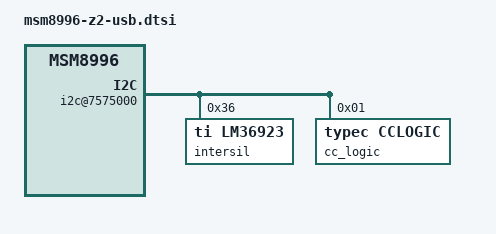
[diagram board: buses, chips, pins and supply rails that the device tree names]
&soc {
	i2c@7575000 {
		compatible = "qcom,i2c-msm-v2";
		#address-cells = <0x1>;
		#size-cells = <0x0>;
		reg-names = "qup_phys_addr";
		reg = <0x7575000 0x1000>;
		interrupt-names = "qup_irq";
		interrupts = <0x0 0x5f 0x0>;
		dmas = <0xe3 0xc 0x20 0x20000020 0x20 0xe3 0xd 0x20 0x20000020 0x20>;
		dma-names = "tx", "rx";
		qcom,master-id = <0x56>;
		qcom,clk-freq-out = <0x61a80>;
		qcom,clk-freq-in = <0x124f800>;
		clock-names = "iface_clk", "core_clk";
		clocks = <0x46 0x8caa5b4f 0x46 0xc303fae9>;
		pinctrl-names = "i2c_active", "i2c_sleep";
		pinctrl-0 = <0xe4>;
		pinctrl-1 = <0xe5>;
		intersil@36 {
			compatible = "ti,lm36923";
			reg = <0x36>;
			vcc_i2c-supply = <0xe6>;
			intersil,i2c-pull-up;
			interrupt-parent = <0x38>;
		};
		cc_logic@01 {
			compatible = "typec,cclogic";
			reg = <0x1>;
			vcc_i2c-supply = <0xe6>;
			vcc_otg-supply = <0xe7>;
			interrupt-parent = <0x38>;
			interrupts = <0x1 0x2>;
			cc_logic,irq-working = <0x38 0x1 0x2>;
			cc_logic,irq-plug = <0x38 0xb 0x3>;
			cc_logic,power-control = <0x38 0xc 0x0>;
			cc_logic,function-switch-gpio1 = <0x38 0x7b 0x0>;
			cc_logic,function-switch-gpio2 = <0x38 0x21 0x0>;
			cc_logic,bypass-power-control = <0x39 0xa 0x0>;
			cc_logic,i2c-pull-up;
			pinctrl-names = "cc_active", "cc_sleep";
			pinctrl-0 = <0xe8 0xe9 0xea>;
			pinctrl-1 = <0xeb 0xec 0xed>;
			cclogic,chip1 {
				cc_logic,power-active-high;
				chip-name = "pericom,pi5usb30216d";
				chip-address = <0x1d>;
			};
			cclogic,chip2 {
				cc_logic,power-active-high;
				chip-name = "ti,tusb320hai";
				chip-address = <0x47>;
			};
		};
	};
};

&tlmm {
	tlmm_gpio_key {
		cclogic_defaulthigh_active: cclogic_defaulthigh_active {
			mux {
				pins = "gpio1", "gpio11";
				function = "gpio";
			};
			config {
				pins = "gpio1", "gpio11";
				drive-strength = <0x6>;
				bias-pull-up;
			};
		};
		cclogic_defaulthigh_suspend: cclogic_defaulthigh_suspend {
			mux {
				pins = "gpio1", "gpio11";
				function = "gpio";
			};
			config {
				pins = "gpio1", "gpio11";
				drive-strength = <0x2>;
				bias-pull-up;
			};
		};
		cclogic_defaultnone_active: cclogic_defaultnone_active {
			mux {
				pins = "gpio0", "gpio33", "gpio123";
				function = "gpio";
			};
			config {
				pins = "gpio0", "gpio33", "gpio123";
				drive-strength = <0x6>;
				bias-disable;
			};
		};
		cclogic_defaultnone_suspend: cclogic_defaultnone_suspend {
			mux {
				pins = "gpio0", "gpio33", "gpio123";
				function = "gpio";
			};
			config {
				pins = "gpio0", "gpio33", "gpio123";
				drive-strength = <0x2>;
				bias-disable;
			};
		};
		cclogic_hold_active: cclogic_hold_active {
			mux {
				pins = "gpio12";
				function = "gpio";
			};
			config {
				pins = "gpio12";
				drive-strength = <0x2>;
				bias-disable;
			};
		};
		cclogic_hold_suspend: cclogc_hold_suspend {
			mux {
				pins = "gpio12";
				function = "gpio";
			};
			config {
				pins = "gpio12";
				drive-strength = <0x2>;
				bias-bus-hold;
			};
		};
	};
};
